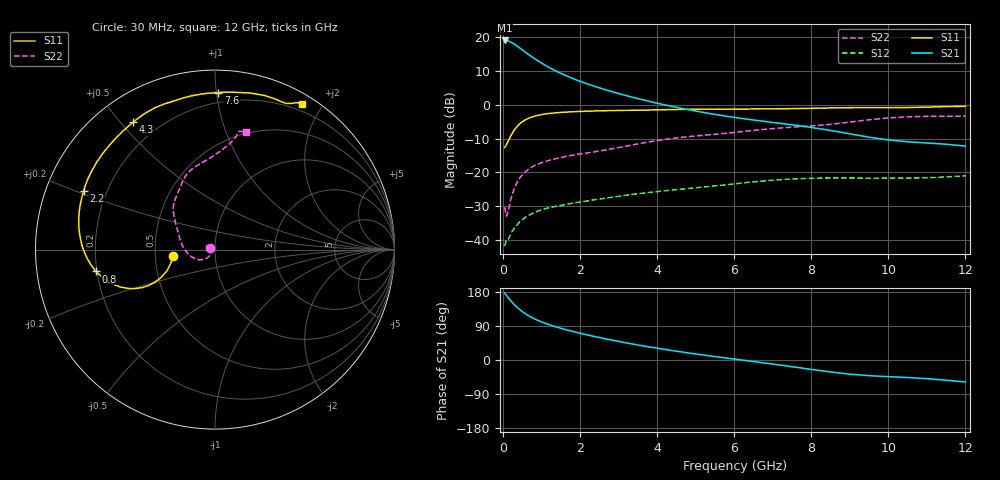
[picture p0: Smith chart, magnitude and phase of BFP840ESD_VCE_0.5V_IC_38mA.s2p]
! Infineon Technologies  Discrete & RF Semiconductors
! BFP840ESD
! VCE =  0.5 V,  IC =  38 mA
! Common Emitter S-Parameters:  May 2012
# GHz  S  MA  R  50
!  f  S11  S21  S12  S22
! GHz  MAG  ANG  MAG  ANG  MAG  ANG  MAG  ANG
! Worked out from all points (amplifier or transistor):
!   93 points, 30 MHz to 12 GHz, reference 50 ohm
!   highest |S21| = 18.9 dB at 30 MHz (marker M1)
!   |S21| within 3 dB of that: start of sweep to 516.9 MHz
!   unconditionally stable (mu >= 1): start of sweep to end of sweep
!   at 1.1 GHz: K = 2.16, MAG = 15.0 dB, |S12| = -30.6 dB
!   at 4.2 GHz: K = 2.72, MAG = 5.4 dB, |S12| = -25.4 dB
!   at 12 GHz: K = 1.86, MAG = -1.0 dB, |S12| = -21.0 dB
!   S11 on the Smith chart (normalised r, x): 30 MHz: 0.62, -0.05; 800 MHz: 0.20, -0.09; 2.2 GHz: 0.12, +0.21; 4.3 GHz: 0.11, +0.54; 7.6 GHz: 0.14, +1.01; 12 GHz: 0.12, +1.76
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0.03  0.234 -171.4  8.839 176.7  0.0082 14.2  0.0308 163.3
0.08  0.2592 -162.6  8.819 170.0  0.0102 21.5  0.0227 -169.3
0.13  0.2938 -156.0  8.645 163.5  0.0105 27.2  0.0276 -143.0
0.18  0.336 -152.8  8.39 157.5  0.0119 32.7  0.038 -134.2
0.23  0.3789 -151.5  8.117 151.7  0.0137 36.0  0.048 -131.1
0.33  0.4594 -152.5  7.473 141.3  0.0162 39.1  0.0669 -134.1
0.43  0.5267 -155.7  6.807 132.5  0.019 39.3  0.0839 -138.9
0.6  0.6109 -162.2  5.773 120.1  0.0224 38.3  0.1061 -147.9
0.8  0.6745 -169.6  4.803 109.0  0.0257 35.8  0.1256 -157.2
1  0.7147 -176.2  4.067 100.1  0.0283 33.8  0.1402 -164.8
1.3  0.7521 175.4  3.269 89.4  0.0312 32.5  0.1569 -174.3
1.7  0.7809 166.1  2.567 77.9  0.0345 30.8  0.1756 176.5
2.1  0.7973 157.9  2.095 68.0  0.0376 30.0  0.1914 168.9
2.2  0.8013 156.0  2.001 65.7  0.0381 30.0  0.1951 167.2
3  0.8204 141.8  1.453 48.9  0.0446 28.0  0.2335 153.0
4.1  0.8395 125.1  1.017 29.4  0.053 23.5  0.3019 139.6
4.3  0.8443 122.6  0.962 26.2  0.0546 22.7  0.3134 137.7
6.1  0.8597 104.8  0.637 1.2  0.069 14.1  0.395 119.9
7.6  0.8747 88.8  0.496 -19.2  0.0806 1.0  0.4696 105.0
8.5  0.894 77.4  0.416 -31.6  0.0831 -7.2  0.5128 92.7
10.5  0.9067 63.9  0.284 -46.3  0.0827 -19.2  0.6603 78.9
12  0.9442 59.0  0.245 -58.0  0.0893 -25.3  0.6772 75.1
